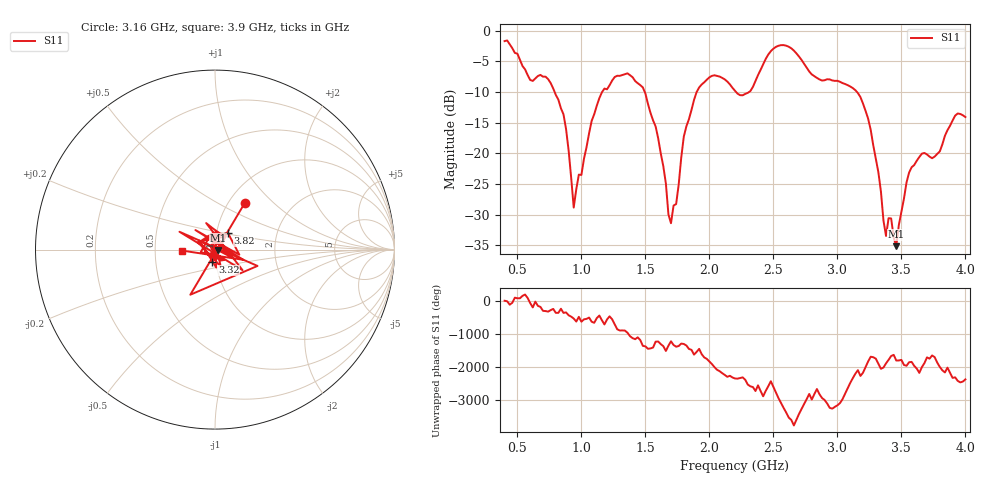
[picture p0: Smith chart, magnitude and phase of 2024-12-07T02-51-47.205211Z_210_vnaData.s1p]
!Created with skrf (http://scikit-rf.org).
# Hz S RI R 50.0
!freq ReS11 ImS11
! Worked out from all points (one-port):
!   181 points, 400 MHz to 4 GHz, reference 50 ohm
!   lowest |S11| = -35.2 dB at 3.46 GHz (marker M1), VSWR 1.04, Z = 51.8 - j0.247 ohm
!   |S11| at or under -10 dB: 790.4 MHz to 1.163 GHz (372.3 MHz wide, 38.1 % of centre); 1.494 GHz to 1.901 GHz (406.6 MHz wide, 23.9 % of centre); 3.152 GHz to end of sweep (the widest 3 of 4)
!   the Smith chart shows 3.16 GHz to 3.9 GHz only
!   S11 on the Smith chart (normalised r, x): 3.16 GHz: 1.19, +0.68; 3.32 GHz: 0.96, -0.13; 3.82 GHz: 1.13, +0.22; 3.9 GHz: 0.69, -0.01
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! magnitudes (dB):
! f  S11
! 400 MHz  -1.7
! 600 MHz  -8.1
! 740 MHz  -7.9
! 860 MHz  -13.7
! 940 MHz  -28.9
! 1.14 GHz  -11.0
! 1.3 GHz  -7.4
! 1.5 GHz  -10.3
! 1.6 GHz  -17.6
! 1.7 GHz  -31.4
! 1.76 GHz  -25.1
! 1.8 GHz  -17.3
! 1.92 GHz  -9.3
! 2.2 GHz  -9.8
! 2.32 GHz  -9.9
! 2.52 GHz  -2.7
! 2.66 GHz  -3.3
! 3.1 GHz  -9.1
! 3.16 GHz  -10.2
! 3.24 GHz  -14.4
! 3.32 GHz  -23.1
! 3.38 GHz  -33.5
! 3.42 GHz  -30.6
! 3.46 GHz  -35.2
! 3.56 GHz  -23.2
! 3.82 GHz  -18.6
! 3.9 GHz  -14.7
! 4 GHz  -14.1
